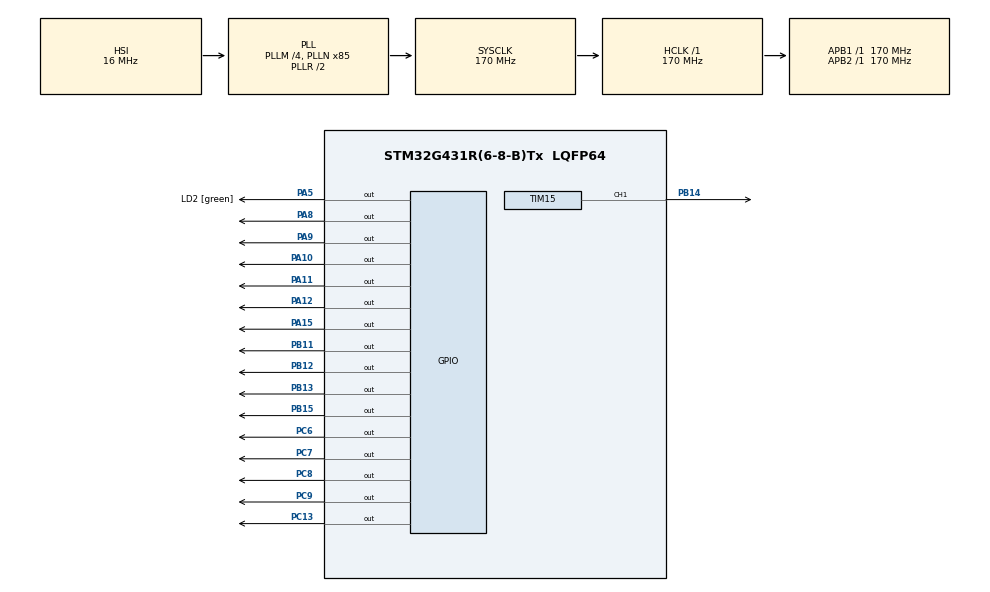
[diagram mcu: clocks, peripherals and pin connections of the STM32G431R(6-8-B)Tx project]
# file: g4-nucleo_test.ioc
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Mcu.Family=STM32G4
Mcu.Name=STM32G431R(6-8-B)Tx
Mcu.Package=LQFP64
NVIC.PriorityGroup=NVIC_PRIORITYGROUP_4
PA10.Signal=GPIO_Output
PA11.Signal=GPIO_Output
PA12.Signal=GPIO_Output
PA13.GPIO_Label=T_SWDIO
PA13.Signal=SYS_JTMS-SWDIO
PA14.GPIO_Label=T_SWCLK
PA14.Signal=SYS_JTCK-SWCLK
PA15.Signal=GPIO_Output
PA2.GPIO_Label=LPUART1_TX [STLINKV3E_VCP_RX]
PA2.Signal=LPUART1_TX
PA3.GPIO_Label=LPUART1_RX [STLINKV3E_VCP_TX]
PA3.Signal=LPUART1_RX
PA5.GPIO_Label=LD2 [green]
PA5.Signal=GPIO_Output
PA8.Signal=GPIO_Output
PA9.Signal=GPIO_Output
PB11.Signal=GPIO_Output
PB12.Signal=GPIO_Output
PB13.Signal=GPIO_Output
PB14.Signal=S_TIM15_CH1
PB15.Signal=GPIO_Output
PB3.GPIO_Label=T_SWO
PB3.Signal=SYS_JTDO-SWO
PC13.Signal=GPIO_Output
PC14-OSC32_IN.Signal=RCC_OSC32_IN
PC15-OSC32_OUT.Signal=RCC_OSC32_OUT
PC6.Signal=GPIO_Output
PC7.Signal=GPIO_Output
PC8.Signal=GPIO_Output
PC9.Signal=GPIO_Output
PF0-OSC_IN.Signal=RCC_OSC_IN
PF1-OSC_OUT.Signal=RCC_OSC_OUT
ProjectManager.HeapSize=0x200
ProjectManager.StackSize=0x400
ProjectManager.TargetToolchain=STM32CubeIDE
RCC.ADC12Freq_Value=170000000
RCC.AHBFreq_Value=170000000
RCC.APB1Freq_Value=170000000
RCC.APB1TimFreq_Value=170000000
RCC.APB2Freq_Value=170000000
RCC.APB2TimFreq_Value=170000000
RCC.CortexFreq_Value=170000000
RCC.EXTERNAL_CLOCK_VALUE=12288000
RCC.HCLKFreq_Value=170000000
RCC.HSE_VALUE=24000000
RCC.HSI48_VALUE=48000000
RCC.HSI_VALUE=16000000
RCC.LSE_VALUE=32768
RCC.PLLM=RCC_PLLM_DIV4
RCC.PLLN=85
RCC.RTCClockSelection=RCC_RTCCLKSOURCE_LSE
RCC.SYSCLKFreq_VALUE=170000000
RCC.SYSCLKSource=RCC_SYSCLKSOURCE_PLLCLK
RCC.USBFreq_Value=170000000
RCC.VCOOutputFreq_Value=340000000
SH.S_TIM15_CH1.0=TIM15_CH1,PWM Generation1 CH1
TIM15.Channel-PWM\ Generation1\ CH1=TIM_CHANNEL_1
TIM15.PeriodNoDither=99
TIM15.Prescaler=139
VP_SYS_VS_DBSignals.Mode=DisableDeadBatterySignals
board=NUCLEO-G431RB

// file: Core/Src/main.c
/* USER CODE BEGIN Header */
/**
  ******************************************************************************
  * @file           : main.c
  * @brief          : Main program body
  ******************************************************************************
  * @attention
  *
  * Copyright (c) 2024 STMicroelectronics.
  * All rights reserved.
  *
  * This software is licensed under terms that can be found in the LICENSE file
  * in the root directory of this software component.
  * If no LICENSE file comes with this software, it is provided AS-IS.
  *
  ******************************************************************************
  */
/* USER CODE END Header */
#include "main.h"

TIM_HandleTypeDef htim15;

void SystemClock_Config(void);
static void MX_GPIO_Init(void);
static void MX_TIM15_Init(void);

/* USER CODE BEGIN 0 */
void ramp_up_down_reverse(uint32_t delay) {
	int values[5] = {100, 75, 50, 75, 100};
	for (int i = 0; i < 5; ++i) {
		HAL_GPIO_WritePin(GPIOB, GPIO_PIN_15, GPIO_PIN_RESET);
		TIM15->CCR1 = values[i];
		HAL_Delay(delay);

		// Spin other direction
		HAL_GPIO_WritePin(GPIOB, GPIO_PIN_15, GPIO_PIN_SET);
		HAL_Delay(delay);

		TIM15->CCR1 = 0;
		HAL_Delay(delay);
	}
}

void flip_flop_lights() {
	for (int i = 0; i < 5; ++i) {
		HAL_GPIO_WritePin(GPIOB, GPIO_PIN_15, GPIO_PIN_RESET);
		HAL_Delay(100);
		HAL_GPIO_WritePin(GPIOB, GPIO_PIN_15, GPIO_PIN_SET);
		HAL_Delay(100);
	}
}
/* USER CODE END 0 */

int main(void)
{

  /* MCU Configuration--------------------------------------------------------*/

  /* Reset of all peripherals, Initializes the Flash interface and the Systick. */
  HAL_Init();

  /* Configure the system clock */
  SystemClock_Config();

  /* USER CODE BEGIN SysInit */

#ifdef VECT_TAB_SRAM
  SCB->VTOR = SRAM_BASE;
#else
  SCB->VTOR = FLASH_BASE;
#endif

  /* USER CODE END SysInit */

  /* Initialize all configured peripherals */
  MX_GPIO_Init();
  MX_TIM15_Init();
  /* USER CODE BEGIN 2 */
  HAL_TIM_PWM_Start(&htim15, TIM_CHANNEL_1);
  HAL_GPIO_WritePin(GPIOC, 13, GPIO_PIN_SET);
  /* USER CODE END 2 */

  /* Infinite loop */
  while (1)
  {

    /* USER CODE BEGIN 3 */
	  TIM15->CCR1 = 0;
	  // turns the lights on/off for 1 second
	  //flip_flop_lights();

 	  uint32_t delay_between_switch = 2000;
	  ramp_up_down_reverse(delay_between_switch);
		TIM15->CCR1 = 100;
		HAL_Delay(delay_between_switch);

		// Spin other direction
		HAL_GPIO_WritePin(GPIOB, GPIO_PIN_15, GPIO_PIN_SET);
		HAL_Delay(delay_between_switch);

		TIM15->CCR1 = 0;
		HAL_Delay(delay_between_switch);
  }
  /* USER CODE END 3 */
}

void SystemClock_Config(void)
{
  RCC_OscInitTypeDef RCC_OscInitStruct = {0};
  RCC_ClkInitTypeDef RCC_ClkInitStruct = {0};

  /** Configure the main internal regulator output voltage
  */
  HAL_PWREx_ControlVoltageScaling(PWR_REGULATOR_VOLTAGE_SCALE1_BOOST);

  /** Initializes the RCC Oscillators according to the specified parameters
  * in the RCC_OscInitTypeDef structure.
  */
  RCC_OscInitStruct.OscillatorType = RCC_OSCILLATORTYPE_HSI;
  RCC_OscInitStruct.HSIState = RCC_HSI_ON;
  RCC_OscInitStruct.HSICalibrationValue = RCC_HSICALIBRATION_DEFAULT;
  RCC_OscInitStruct.PLL.PLLState = RCC_PLL_ON;
  RCC_OscInitStruct.PLL.PLLSource = RCC_PLLSOURCE_HSI;
  RCC_OscInitStruct.PLL.PLLM = RCC_PLLM_DIV4;
  RCC_OscInitStruct.PLL.PLLN = 85;
  RCC_OscInitStruct.PLL.PLLP = RCC_PLLP_DIV2;
  RCC_OscInitStruct.PLL.PLLQ = RCC_PLLQ_DIV2;
  RCC_OscInitStruct.PLL.PLLR = RCC_PLLR_DIV2;
  if (HAL_RCC_OscConfig(&RCC_OscInitStruct) != HAL_OK)
  {
    Error_Handler();
  }

  /** Initializes the CPU, AHB and APB buses clocks
  */
  RCC_ClkInitStruct.ClockType = RCC_CLOCKTYPE_HCLK|RCC_CLOCKTYPE_SYSCLK
                              |RCC_CLOCKTYPE_PCLK1|RCC_CLOCKTYPE_PCLK2;
  RCC_ClkInitStruct.SYSCLKSource = RCC_SYSCLKSOURCE_PLLCLK;
  RCC_ClkInitStruct.AHBCLKDivider = RCC_SYSCLK_DIV1;
  RCC_ClkInitStruct.APB1CLKDivider = RCC_HCLK_DIV1;
  RCC_ClkInitStruct.APB2CLKDivider = RCC_HCLK_DIV1;

  if (HAL_RCC_ClockConfig(&RCC_ClkInitStruct, FLASH_LATENCY_4) != HAL_OK)
  {
    Error_Handler();
  }
}

static void MX_TIM15_Init(void)
{

  TIM_MasterConfigTypeDef sMasterConfig = {0};
  TIM_OC_InitTypeDef sConfigOC = {0};
  TIM_BreakDeadTimeConfigTypeDef sBreakDeadTimeConfig = {0};

  htim15.Instance = TIM15;
  htim15.Init.Prescaler = 139;
  htim15.Init.CounterMode = TIM_COUNTERMODE_UP;
  htim15.Init.Period = 99;
  htim15.Init.ClockDivision = TIM_CLOCKDIVISION_DIV1;
  htim15.Init.RepetitionCounter = 0;
  htim15.Init.AutoReloadPreload = TIM_AUTORELOAD_PRELOAD_DISABLE;
  if (HAL_TIM_PWM_Init(&htim15) != HAL_OK)
  {
    Error_Handler();
  }
  sMasterConfig.MasterOutputTrigger = TIM_TRGO_RESET;
  sMasterConfig.MasterSlaveMode = TIM_MASTERSLAVEMODE_DISABLE;
  if (HAL_TIMEx_MasterConfigSynchronization(&htim15, &sMasterConfig) != HAL_OK)
  {
    Error_Handler();
  }
  sConfigOC.OCMode = TIM_OCMODE_PWM1;
  sConfigOC.Pulse = 0;
  sConfigOC.OCPolarity = TIM_OCPOLARITY_HIGH;
  sConfigOC.OCNPolarity = TIM_OCNPOLARITY_HIGH;
  sConfigOC.OCFastMode = TIM_OCFAST_DISABLE;
  sConfigOC.OCIdleState = TIM_OCIDLESTATE_RESET;
  sConfigOC.OCNIdleState = TIM_OCNIDLESTATE_RESET;
  if (HAL_TIM_PWM_ConfigChannel(&htim15, &sConfigOC, TIM_CHANNEL_1) != HAL_OK)
  {
    Error_Handler();
  }
  sBreakDeadTimeConfig.OffStateRunMode = TIM_OSSR_DISABLE;
  sBreakDeadTimeConfig.OffStateIDLEMode = TIM_OSSI_DISABLE;
  sBreakDeadTimeConfig.LockLevel = TIM_LOCKLEVEL_OFF;
  sBreakDeadTimeConfig.DeadTime = 0;
  sBreakDeadTimeConfig.BreakState = TIM_BREAK_DISABLE;
  sBreakDeadTimeConfig.BreakPolarity = TIM_BREAKPOLARITY_HIGH;
  sBreakDeadTimeConfig.BreakFilter = 0;
  sBreakDeadTimeConfig.AutomaticOutput = TIM_AUTOMATICOUTPUT_DISABLE;
  if (HAL_TIMEx_ConfigBreakDeadTime(&htim15, &sBreakDeadTimeConfig) != HAL_OK)
  {
    Error_Handler();
  }
  HAL_TIM_MspPostInit(&htim15);

}

static void MX_GPIO_Init(void)
{
  GPIO_InitTypeDef GPIO_InitStruct = {0};

  /* GPIO Ports Clock Enable */
  __HAL_RCC_GPIOC_CLK_ENABLE();
  __HAL_RCC_GPIOF_CLK_ENABLE();
  __HAL_RCC_GPIOA_CLK_ENABLE();
  __HAL_RCC_GPIOB_CLK_ENABLE();

  /*Configure GPIO pin Output Level */
  HAL_GPIO_WritePin(GPIOC, GPIO_PIN_13|GPIO_PIN_6|GPIO_PIN_7|GPIO_PIN_8
                          |GPIO_PIN_9, GPIO_PIN_RESET);

  /*Configure GPIO pin Output Level */
  HAL_GPIO_WritePin(GPIOA, LD2_Pin|GPIO_PIN_8|GPIO_PIN_9|GPIO_PIN_10
                          |GPIO_PIN_11|GPIO_PIN_12|GPIO_PIN_15, GPIO_PIN_RESET);

  /*Configure GPIO pin Output Level */
  HAL_GPIO_WritePin(GPIOB, GPIO_PIN_11|GPIO_PIN_12|GPIO_PIN_13|GPIO_PIN_15, GPIO_PIN_RESET);

  /*Configure GPIO pins : PC13 PC6 PC7 PC8
                           PC9 */
  GPIO_InitStruct.Pin = GPIO_PIN_13|GPIO_PIN_6|GPIO_PIN_7|GPIO_PIN_8
                          |GPIO_PIN_9;
  GPIO_InitStruct.Mode = GPIO_MODE_OUTPUT_PP;
  GPIO_InitStruct.Pull = GPIO_NOPULL;
  GPIO_InitStruct.Speed = GPIO_SPEED_FREQ_LOW;
  HAL_GPIO_Init(GPIOC, &GPIO_InitStruct);

  /*Configure GPIO pins : LPUART1_TX_Pin LPUART1_RX_Pin */
  GPIO_InitStruct.Pin = LPUART1_TX_Pin|LPUART1_RX_Pin;
  GPIO_InitStruct.Mode = GPIO_MODE_AF_PP;
  GPIO_InitStruct.Pull = GPIO_NOPULL;
  GPIO_InitStruct.Speed = GPIO_SPEED_FREQ_LOW;
  GPIO_InitStruct.Alternate = GPIO_AF12_LPUART1;
  HAL_GPIO_Init(GPIOA, &GPIO_InitStruct);

  /*Configure GPIO pins : LD2_Pin PA8 PA9 PA10
                           PA11 PA12 PA15 */
  GPIO_InitStruct.Pin = LD2_Pin|GPIO_PIN_8|GPIO_PIN_9|GPIO_PIN_10
                          |GPIO_PIN_11|GPIO_PIN_12|GPIO_PIN_15;
  GPIO_InitStruct.Mode = GPIO_MODE_OUTPUT_PP;
  GPIO_InitStruct.Pull = GPIO_NOPULL;
  GPIO_InitStruct.Speed = GPIO_SPEED_FREQ_LOW;
  HAL_GPIO_Init(GPIOA, &GPIO_InitStruct);

  /*Configure GPIO pins : PB11 PB12 PB13 PB15 */
  GPIO_InitStruct.Pin = GPIO_PIN_11|GPIO_PIN_12|GPIO_PIN_13|GPIO_PIN_15;
  GPIO_InitStruct.Mode = GPIO_MODE_OUTPUT_PP;
  GPIO_InitStruct.Pull = GPIO_NOPULL;
  GPIO_InitStruct.Speed = GPIO_SPEED_FREQ_LOW;
  HAL_GPIO_Init(GPIOB, &GPIO_InitStruct);

}

void Error_Handler(void)
{
  __disable_irq();
  while (1)
  {
  }
}

;
